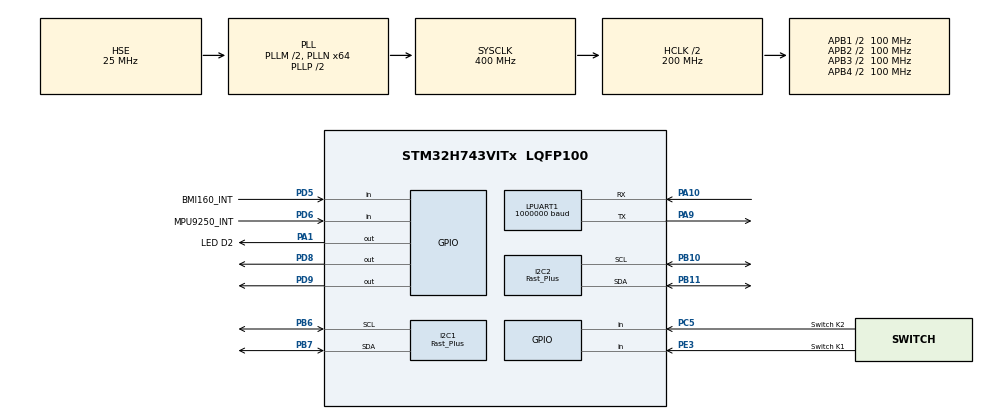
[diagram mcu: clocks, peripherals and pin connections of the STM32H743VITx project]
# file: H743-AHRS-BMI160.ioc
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I2C1.I2C_Speed_Mode=I2C_Fast_Plus
I2C1.Timing=0x00401242
I2C2.I2C_Speed_Mode=I2C_Fast_Plus
I2C2.Timing=0x00401242
LPUART1.BaudRate=1000000
Mcu.Family=STM32H7
Mcu.Name=STM32H743VITx
Mcu.Package=LQFP100
NVIC.PriorityGroup=NVIC_PRIORITYGROUP_4
PA1.GPIO_Label=LED D2
PA1.Signal=GPIO_Output
PA10.Mode=Asynchronous
PA10.Signal=LPUART1_RX
PA13\ (JTMS/SWDIO).Mode=Serial_Wire
PA13\ (JTMS/SWDIO).Signal=DEBUG_JTMS-SWDIO
PA14\ (JTCK/SWCLK).Mode=Serial_Wire
PA14\ (JTCK/SWCLK).Signal=DEBUG_JTCK-SWCLK
PA9.Mode=Asynchronous
PA9.Signal=LPUART1_TX
PB10.Mode=I2C
PB10.Signal=I2C2_SCL
PB11.Mode=I2C
PB11.Signal=I2C2_SDA
PB6.Mode=I2C
PB6.Signal=I2C1_SCL
PB7.Mode=I2C
PB7.Signal=I2C1_SDA
PC14-OSC32_IN\ (OSC32_IN).Mode=LSE-External-Oscillator
PC14-OSC32_IN\ (OSC32_IN).Signal=RCC_OSC32_IN
PC15-OSC32_OUT\ (OSC32_OUT).Mode=LSE-External-Oscillator
PC15-OSC32_OUT\ (OSC32_OUT).Signal=RCC_OSC32_OUT
PC5.GPIO_Label=Switch K2
PC5.Signal=GPIO_Input
PD5.GPIO_Label=BMI160_INT
PD5.Signal=GPIO_Input
PD6.GPIO_Label=MPU9250_INT
PD6.Signal=GPIO_Input
PD8.Signal=GPIO_Output
PD9.Signal=GPIO_Output
PE3.GPIO_Label=Switch K1
PE3.Signal=GPIO_Input
PH0-OSC_IN\ (PH0).Mode=HSE-External-Oscillator
PH0-OSC_IN\ (PH0).Signal=RCC_OSC_IN
PH1-OSC_OUT\ (PH1).Mode=HSE-External-Oscillator
PH1-OSC_OUT\ (PH1).Signal=RCC_OSC_OUT
ProjectManager.HeapSize=0x400
ProjectManager.StackSize=0x800
ProjectManager.TargetToolchain=STM32CubeIDE
RCC.ADCFreq_Value=50390625
RCC.APB1Freq_Value=100000000
RCC.APB2Freq_Value=100000000
RCC.APB3Freq_Value=100000000
RCC.APB4Freq_Value=100000000
RCC.CortexFreq_Value=400000000
RCC.D1PPRE=RCC_APB3_DIV2
RCC.D2PPRE1=RCC_APB1_DIV2
RCC.D2PPRE2=RCC_APB2_DIV2
RCC.D3PPRE=RCC_APB4_DIV2
RCC.DIVM1=2
RCC.DIVN1=64
RCC.DIVQ1=1
RCC.DIVR1=8
RCC.HCLKFreq_Value=200000000
RCC.HPRE=RCC_HCLK_DIV2
RCC.PLL2FRACN=0
RCC.PLL2_VCI_Range-AdvancedSettings=RCC_PLL2VCIRANGE_0
RCC.PLL3FRACN=0
RCC.PLLFRACN=0
RCC.PLLSourceVirtual=RCC_PLLSOURCE_HSE
RCC.PWR_Regulator_Voltage_Scale=PWR_REGULATOR_VOLTAGE_SCALE0
RCC.SYSCLKFreq_VALUE=400000000
RCC.SYSCLKSource=RCC_SYSCLKSOURCE_PLLCLK
RCC.USBFreq_Value=800000000
board=custom

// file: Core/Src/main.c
/* USER CODE BEGIN Header */
/**
  ******************************************************************************
  * @file           : main.c
  * @brief          : Main program body
  ******************************************************************************
  * @attention
  *
  * Copyright (c) 2022 STMicroelectronics.
  * All rights reserved.
  *
  * This software is licensed under terms that can be found in the LICENSE file
  * in the root directory of this software component.
  * If no LICENSE file comes with this software, it is provided AS-IS.
  *
  ******************************************************************************
  */
/* USER CODE END Header */
#include "main.h"
#include "i2c.h"
#include "usart.h"
#include "gpio.h"
/* USER CODE BEGIN Includes */
#include "stdint.h"
#include "stdio.h"
#include "math.h"
#include "bmi160_wrapper.h"
#include "micros.h"
#include "quaternion.h"
#include "FusionAHRS.h"
#include "LowPassFilter.h"
#include "NotchFilter.h"
/* USER CODE END Includes */

/* USER CODE BEGIN PTD */
BMI160_t imu_t;

Quaternion_t quaternion_t;
FusionBias fusionBiasIMU1;
FusionAhrs fusionAhrsIMU1;
FusionAHRS_t AHRS_IMU1;

NotchFilter_t NF_gyro_x, NF_gyro_y, NF_gyro_z;
LPFTwoPole_t LPF_accel_x, LPF_accel_y, LPF_accel_z, LPF_gyro_x, LPF_gyro_y, LPF_gyro_z;
/* USER CODE END PTD */

/* USER CODE BEGIN PD */

#define 	SAMPLE_FREQ_HZ 		1000.0f	// Data sample frequency in Hz
#define 	LPF_ACCEL_CTOFF_HZ 	260.0f	// LPF Cut-Off or accelerometer
#define 	LPF_GYRO_CTOFF_HZ 	256.0f	// LPF Cut-Off or gyro
#define 	NF_GYRO_CFREQ_HZ	74.0f	// NF center frequency for Gyro
#define 	NF_GYRO_NWDTH_HZ	5.0f	// NF notch-width frequency for Gyro
/* USER CODE END PD */

void SystemClock_Config(void);

/* USER CODE BEGIN 0 */
int _write(int file, char *ptr, int len)
{
	HAL_UART_Transmit(&hlpuart1, (uint8_t*)ptr, len, HAL_MAX_DELAY);
	return len;
}

float sample_time_sec_f32 = 1.0f / SAMPLE_FREQ_HZ;
float sample_time_us_f32 = (1.0f / SAMPLE_FREQ_HZ) * 1000000.0f;

float accelLowPassFiltered_f32[3], gyroLowPassFiltered_f32[3], gyroNotchFiltered_f32[3];

float eulerAngles_f32[3];

uint64_t timer_u64 = 0;
uint64_t lastTime_u64 = 0;
/* USER CODE END 0 */

int main(void)
{

  /* MCU Configuration--------------------------------------------------------*/

  /* Reset of all peripherals, Initializes the Flash interface and the Systick. */
  HAL_Init();

  /* Configure the system clock */
  SystemClock_Config();

  /* Initialize all configured peripherals */
  MX_GPIO_Init();
  MX_LPUART1_UART_Init();
  MX_I2C1_Init();
  MX_I2C2_Init();
  /* USER CODE BEGIN 2 */

  //Init DWT Clock for proper us time tick
  DWT_Init();

  //Init filter with predefined settings
  LPFTwoPole_Init(&LPF_accel_x, LPF_TYPE_BESSEL, LPF_ACCEL_CTOFF_HZ, sample_time_sec_f32);
  LPFTwoPole_Init(&LPF_accel_y, LPF_TYPE_BESSEL, LPF_ACCEL_CTOFF_HZ, sample_time_sec_f32);
  LPFTwoPole_Init(&LPF_accel_z, LPF_TYPE_BESSEL, LPF_ACCEL_CTOFF_HZ, sample_time_sec_f32);

  LPFTwoPole_Init(&LPF_gyro_x, LPF_TYPE_BESSEL, LPF_GYRO_CTOFF_HZ, sample_time_sec_f32);
  LPFTwoPole_Init(&LPF_gyro_y, LPF_TYPE_BESSEL, LPF_GYRO_CTOFF_HZ, sample_time_sec_f32);
  LPFTwoPole_Init(&LPF_gyro_z, LPF_TYPE_BESSEL, LPF_GYRO_CTOFF_HZ, sample_time_sec_f32);

  NotchFilterInit(&NF_gyro_x, NF_GYRO_CFREQ_HZ, NF_GYRO_NWDTH_HZ, sample_time_sec_f32);
  NotchFilterInit(&NF_gyro_y, NF_GYRO_CFREQ_HZ, NF_GYRO_NWDTH_HZ, sample_time_sec_f32);
  NotchFilterInit(&NF_gyro_z, NF_GYRO_CFREQ_HZ, NF_GYRO_NWDTH_HZ, sample_time_sec_f32);

  //Init state estimators
  quaternionInit(&quaternion_t, sample_time_us_f32);
  initFusionAHRS(&fusionBiasIMU1, &fusionAhrsIMU1, &AHRS_IMU1, sample_time_sec_f32);

  //Init sensors
  while (BMI160_init(imu_t) == 1);

  if (imu_t.INIT_OK_i8 != TRUE)
  {
	   HAL_GPIO_WritePin(GPIOA, GPIO_PIN_5, SET);
  }

	uint8_t newData_u8;
  /* USER CODE END 2 */

  /* Infinite loop */
  while (1)
  {

    /* USER CODE BEGIN 3 */

	//Get system time in us
	timer_u64 = micros();

	if ( ((timer_u64 - lastTime_u64) >= sample_time_us_f32) && (imu_t.INIT_OK_i8 == TRUE) )
	{
		lastTime_u64 = micros();

		//Read BMI160 sensor data
		bmi160ReadAccelGyro(&imu_t);

		//Get accelerometer data in "g" and run LPF
		accelLowPassFiltered_f32[0] = (LPFTwoPole_Update(&LPF_accel_x, imu_t.BMI160_Accel_f32[0]));
		accelLowPassFiltered_f32[1] = (LPFTwoPole_Update(&LPF_accel_y, imu_t.BMI160_Accel_f32[1]));
		accelLowPassFiltered_f32[2] = (LPFTwoPole_Update(&LPF_accel_z, imu_t.BMI160_Accel_f32[2]));

		//Get gyro data in "deg/s" and run LPF
		gyroLowPassFiltered_f32[0] = NotchFilter_Update(&NF_gyro_x, imu_t.BMI160_Gyro_f32[0]);
		gyroLowPassFiltered_f32[1] = NotchFilter_Update(&NF_gyro_y, imu_t.BMI160_Gyro_f32[1]);
		gyroLowPassFiltered_f32[2] = NotchFilter_Update(&NF_gyro_z, imu_t.BMI160_Gyro_f32[2]);

		//Put gyro data into Notch Filter to flat-out any data in specific frequency band
		gyroNotchFiltered_f32[0] = (LPFTwoPole_Update(&LPF_gyro_x, gyroLowPassFiltered_f32[0]));
		gyroNotchFiltered_f32[1] = (LPFTwoPole_Update(&LPF_gyro_y, gyroLowPassFiltered_f32[1]));
		gyroNotchFiltered_f32[2] = (LPFTwoPole_Update(&LPF_gyro_z, gyroLowPassFiltered_f32[2]));

		//Get state estimations, using quaternion and fusion-quaternion based estimators
		quaternionUpdate(&quaternion_t, accelLowPassFiltered_f32[0], accelLowPassFiltered_f32[1], accelLowPassFiltered_f32[2],
				gyroNotchFiltered_f32[0]*(M_PI/180.0f), gyroNotchFiltered_f32[1]*(M_PI/180.0f),
					gyroNotchFiltered_f32[2]*(M_PI/180.0f));

		getFusionAHRS_6DoF(&fusionBiasIMU1, &fusionAhrsIMU1, &AHRS_IMU1, accelLowPassFiltered_f32[0], accelLowPassFiltered_f32[1],
				accelLowPassFiltered_f32[2], gyroNotchFiltered_f32[0]*(M_PI/180.0f), gyroNotchFiltered_f32[1]*(M_PI/180.0f),
					gyroNotchFiltered_f32[2]*(M_PI/180.0f));

		newData_u8 = TRUE; //Set newData to high for activate UART printer

	}//end of timer if

	if(newData_u8)
	{
		printf("%f, %f, %f\r\n", //, %f, %f, %f
				quaternion_t.yaw, quaternion_t.pitch, quaternion_t.roll);
//				AHRS_IMU1.YAW, AHRS_IMU1.PITCH, AHRS_IMU1.ROLL);
		newData_u8 = FALSE;
	}

  }
  /* USER CODE END 3 */
}

void SystemClock_Config(void)
{
  RCC_OscInitTypeDef RCC_OscInitStruct = {0};
  RCC_ClkInitTypeDef RCC_ClkInitStruct = {0};

  /** Supply configuration update enable
  */
  HAL_PWREx_ConfigSupply(PWR_LDO_SUPPLY);
  /** Configure the main internal regulator output voltage
  */
  __HAL_PWR_VOLTAGESCALING_CONFIG(PWR_REGULATOR_VOLTAGE_SCALE0);

  while(!__HAL_PWR_GET_FLAG(PWR_FLAG_VOSRDY)) {}
  /** Initializes the RCC Oscillators according to the specified parameters
  * in the RCC_OscInitTypeDef structure.
  */
  RCC_OscInitStruct.OscillatorType = RCC_OSCILLATORTYPE_HSE;
  RCC_OscInitStruct.HSEState = RCC_HSE_ON;
  RCC_OscInitStruct.PLL.PLLState = RCC_PLL_ON;
  RCC_OscInitStruct.PLL.PLLSource = RCC_PLLSOURCE_HSE;
  RCC_OscInitStruct.PLL.PLLM = 2;
  RCC_OscInitStruct.PLL.PLLN = 64;
  RCC_OscInitStruct.PLL.PLLP = 2;
  RCC_OscInitStruct.PLL.PLLQ = 1;
  RCC_OscInitStruct.PLL.PLLR = 8;
  RCC_OscInitStruct.PLL.PLLRGE = RCC_PLL1VCIRANGE_3;
  RCC_OscInitStruct.PLL.PLLVCOSEL = RCC_PLL1VCOWIDE;
  RCC_OscInitStruct.PLL.PLLFRACN = 0;
  if (HAL_RCC_OscConfig(&RCC_OscInitStruct) != HAL_OK)
  {
    Error_Handler();
  }
  /** Initializes the CPU, AHB and APB buses clocks
  */
  RCC_ClkInitStruct.ClockType = RCC_CLOCKTYPE_HCLK|RCC_CLOCKTYPE_SYSCLK
                              |RCC_CLOCKTYPE_PCLK1|RCC_CLOCKTYPE_PCLK2
                              |RCC_CLOCKTYPE_D3PCLK1|RCC_CLOCKTYPE_D1PCLK1;
  RCC_ClkInitStruct.SYSCLKSource = RCC_SYSCLKSOURCE_PLLCLK;
  RCC_ClkInitStruct.SYSCLKDivider = RCC_SYSCLK_DIV1;
  RCC_ClkInitStruct.AHBCLKDivider = RCC_HCLK_DIV2;
  RCC_ClkInitStruct.APB3CLKDivider = RCC_APB3_DIV2;
  RCC_ClkInitStruct.APB1CLKDivider = RCC_APB1_DIV2;
  RCC_ClkInitStruct.APB2CLKDivider = RCC_APB2_DIV2;
  RCC_ClkInitStruct.APB4CLKDivider = RCC_APB4_DIV2;

  if (HAL_RCC_ClockConfig(&RCC_ClkInitStruct, FLASH_LATENCY_2) != HAL_OK)
  {
    Error_Handler();
  }
}

void Error_Handler(void)
{
  __disable_irq();
  while (1)
  {
  }
}
